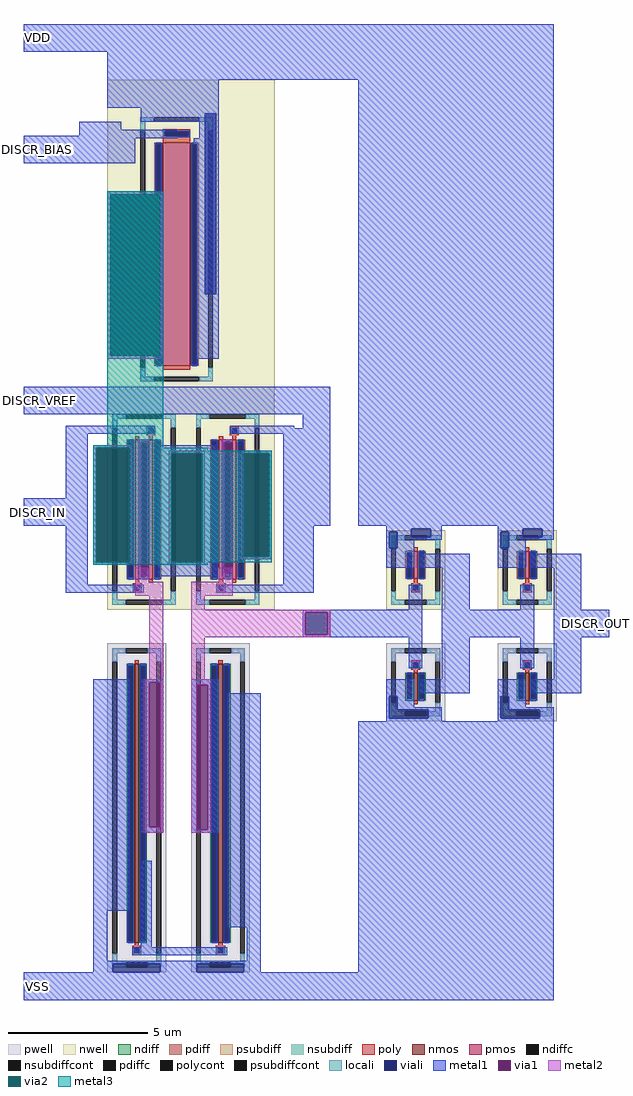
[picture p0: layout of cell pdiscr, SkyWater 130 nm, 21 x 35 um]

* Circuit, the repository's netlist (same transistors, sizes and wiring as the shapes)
** sch_path: /home/ttuser/tt_analog_z2a/xschem/pdiscr.sch
.subckt pdiscr VDD VSS DISCR_BIAS DISCR_IN DISCR_OUT DISCR_VREF
*.PININFO VDD:B VSS:B DISCR_IN:I DISCR_VREF:I DISCR_OUT:O DISCR_BIAS:B
x6 VDD VSS net2 net1 inv_x1
x7 VDD VSS DISCR_OUT net2 inv_x1
x5 VDD VSS net1 DISCR_IN DISCR_VREF DISCR_BIAS amp_p
.ends

* expanding   symbol:  inv_x1.sym # of pins=4
** sym_path: /home/ttuser/tt_analog_z2a/xschem/inv_x1.sym
** sch_path: /home/ttuser/tt_analog_z2a/xschem/inv_x1.sch
.subckt inv_x1 VDD VSS INV_OUT INV_IN
*.PININFO INV_IN:I INV_OUT:O VDD:B VSS:B
XM3 INV_OUT INV_IN VDD VDD sky130_fd_pr__pfet_01v8 L=0.15 W=1 nf=1 m=1
XM5 INV_OUT INV_IN VSS VSS sky130_fd_pr__nfet_01v8 L=0.15 W=1 nf=1 m=1
.ends


* expanding   symbol:  amp_p.sym # of pins=6
** sym_path: /home/ttuser/tt_analog_z2a/xschem/amp_p.sym
** sch_path: /home/ttuser/tt_analog_z2a/xschem/amp_p.sch
.subckt amp_p VDD VSS AMP_OUT AMP_P AMP_N PBIAS
*.PININFO AMP_P:I AMP_N:I AMP_OUT:O PBIAS:I VDD:B VSS:B
XM1 VTAIL PBIAS VDD VDD sky130_fd_pr__pfet_01v8 L=1 W=1 nf=1 m=8
XM2 AMP_OUT VFOLD VSS VSS sky130_fd_pr__nfet_01v8 L=0.15 W=10 nf=1 m=1
XM6 VFOLD VFOLD VSS VSS sky130_fd_pr__nfet_01v8 L=0.15 W=10 nf=1 m=1
XM4 AMP_OUT AMP_N VTAIL VDD sky130_fd_pr__pfet_01v8 L=0.15 W=10 nf=2 m=1
XM5 VFOLD AMP_P VTAIL VDD sky130_fd_pr__pfet_01v8 L=0.15 W=10 nf=2 m=1
.ends

.end

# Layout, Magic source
magic
tech sky130A
<< metal1 >>
rect 400 1900 700 2000
rect 1000 1800 2300 2000
rect 400 1500 600 1600
rect 400 600 1500 700
rect 1400 300 1500 600
rect 400 200 500 300
rect 1600 200 2300 1800
rect 1400 -200 1600 -100
rect 2400 -200 2500 -100
rect 1600 -1400 2300 -500
rect 400 -1500 500 -1400
rect 1200 -1500 2300 -1400
use amp_p  x5
transform 1 0 200 0 1 200
box 300 -1700 1300 1800
use inv_x1  x6 ~/tt_analog_z2a_2/mag
transform 1 0 1500 0 1 100
box 100 -700 500 200
use inv_x1  x7
transform 1 0 1900 0 1 100
box 100 -700 500 200
<< labels >>
flabel metal1 400 -1500 500 -1400 0 FreeSans 128 0 0 0 VSS
port 1 nsew
flabel metal1 400 1900 500 2000 0 FreeSans 128 0 0 0 VDD
port 0 nsew
flabel metal1 2400 -200 2500 -100 0 FreeSans 128 0 0 0 DISCR_OUT
port 4 nsew
flabel metal1 400 1500 500 1600 0 FreeSans 128 0 0 0 DISCR_BIAS
port 2 nsew
flabel metal1 400 600 500 700 0 FreeSans 128 0 0 0 DISCR_VREF
port 5 nsew
flabel metal1 400 200 500 300 0 FreeSans 128 0 0 0 DISCR_IN
port 3 nsew
<< end >>

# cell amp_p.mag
magic
tech sky130A
magscale 1 2
<< nwell >>
rect 1000 -600 2200 3200
<< viali >>
rect 1040 -3200 1380 -3140
rect 1640 -3200 1980 -3140
<< metal1 >>
rect 1000 3000 1800 3600
rect 1240 2900 1800 3000
rect 800 2800 1100 2900
rect 800 2600 1200 2800
rect 1000 1200 1400 2400
rect 1700 1200 1800 2900
rect 700 660 1340 720
rect 1880 700 2340 720
rect 1880 660 2480 700
rect 700 200 860 660
rect 1220 600 1300 620
rect 600 0 860 200
rect 700 -420 860 0
rect 900 560 1180 580
rect 900 -260 920 560
rect 1160 -260 1180 560
rect 900 -280 1180 -260
rect 1220 -360 1240 600
rect 1820 600 1900 620
rect 1360 520 1780 580
rect 1360 -260 1460 520
rect 1680 -260 1780 520
rect 1360 -360 1780 -260
rect 1820 -340 1840 600
rect 1960 520 2180 540
rect 1960 -220 1980 520
rect 2160 -220 2180 520
rect 1960 -240 2180 -220
rect 2260 200 2480 660
rect 2260 0 2600 200
rect 1820 -360 1900 -340
rect 1220 -380 1300 -360
rect 2260 -420 2480 0
rect 700 -480 1260 -420
rect 1780 -480 2480 -420
rect 2400 -620 2600 -600
rect 2400 -780 2420 -620
rect 2580 -780 2600 -620
rect 2400 -800 2600 -780
rect 900 -2760 1160 -1100
rect 900 -3120 1000 -2760
rect 1240 -3020 1320 -2400
rect 1860 -2880 2100 -1200
rect 1180 -3080 1860 -3020
rect 2000 -3120 2100 -2880
rect 900 -3140 2100 -3120
rect 900 -3200 1040 -3140
rect 1380 -3200 1640 -3140
rect 1980 -3200 2100 -3140
rect 600 -3400 2100 -3200
<< via1 >>
rect 920 -260 1160 560
rect 1240 -360 1300 600
rect 1460 -260 1680 520
rect 1840 -340 1900 600
rect 1980 -220 2160 520
rect 2420 -780 2580 -620
<< metal2 >>
rect 1000 1200 1400 2400
rect 1220 600 1300 620
rect 900 560 1180 580
rect 900 -260 920 560
rect 1160 -260 1180 560
rect 900 -280 1180 -260
rect 1220 -360 1240 600
rect 1820 600 1900 620
rect 1440 520 1700 540
rect 1440 -260 1460 520
rect 1680 -260 1700 520
rect 1440 -280 1700 -260
rect 1820 -340 1840 600
rect 1960 520 2180 540
rect 1960 -220 1980 520
rect 2160 -220 2180 520
rect 1960 -240 2180 -220
rect 1820 -360 1900 -340
rect 1220 -380 1300 -360
rect 1600 -620 2600 -600
rect 1600 -780 2420 -620
rect 2580 -780 2600 -620
rect 1600 -800 2600 -780
<< via2 >>
rect 920 -260 1160 560
rect 1460 -260 1680 520
rect 1980 -220 2160 520
<< metal3 >>
rect 1000 580 1400 2400
rect 900 560 1400 580
rect 900 -260 920 560
rect 1160 540 1720 560
rect 1160 520 2180 540
rect 1160 -260 1460 520
rect 1680 -220 1980 520
rect 2160 -220 2180 520
rect 1680 -260 2180 -220
rect 900 -280 1720 -260
use sky130_fd_pr__nfet_01v8_A5WNKR  sky130_fd_pr__nfet_01v8_A5WNKR_0
transform 1 0 1811 0 1 -2021
box -211 -1179 211 1179
use sky130_fd_pr__pfet_01v8_MGEV6J  sky130_fd_pr__pfet_01v8_MGEV6J_0
transform 1 0 1863 0 1 119
box -263 -719 263 719
use sky130_fd_pr__pfet_01v8_SB2EVP  XM1
transform 1 0 1496 0 1 1984
box -576 -4184 404 1256
use sky130_fd_pr__nfet_01v8_A5WNKR  XM2
transform 1 0 1211 0 1 -2021
box -211 -1179 211 1179
use sky130_fd_pr__pfet_01v8_MGEV6J  XM4
transform 1 0 1263 0 1 119
box -263 -719 263 719
<< labels >>
flabel metal1 600 -3400 800 -3200 0 FreeSans 256 0 0 0 VSS
port 1 nsew
flabel metal1 1000 3400 1200 3600 0 FreeSans 256 0 0 0 VDD
port 0 nsew
flabel metal1 800 2600 1000 2800 0 FreeSans 256 0 0 0 PBIAS
port 5 nsew
flabel metal1 600 0 800 200 0 FreeSans 256 0 0 0 AMP_P
port 3 nsew
flabel metal1 2400 0 2600 200 0 FreeSans 256 0 0 0 AMP_N
port 4 nsew
flabel metal1 2400 -800 2600 -600 0 FreeSans 256 0 0 0 AMP_OUT
port 2 nsew
<< end >>

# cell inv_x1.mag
magic
tech sky130A
magscale 1 2
<< viali >>
rect 420 40 480 160
rect 580 120 720 180
rect 420 -1120 480 -1020
rect 420 -1180 700 -1120
<< metal1 >>
rect 200 200 800 400
rect 400 180 800 200
rect 400 160 580 180
rect 400 40 420 160
rect 480 120 580 160
rect 720 120 800 180
rect 480 100 800 120
rect 480 40 600 100
rect 400 -100 600 40
rect 640 -100 1000 0
rect 560 -400 660 -220
rect 200 -600 660 -400
rect 560 -820 660 -600
rect 800 -900 1000 -100
rect 400 -1020 600 -900
rect 640 -1000 1000 -900
rect 400 -1180 420 -1020
rect 480 -1100 600 -1020
rect 480 -1120 800 -1100
rect 700 -1180 800 -1120
rect 400 -1200 800 -1180
rect 200 -1400 800 -1200
use sky130_fd_pr__pfet_01v8_LGS3BL  XM3
transform 1 0 611 0 1 -116
box -211 -284 211 284
use sky130_fd_pr__nfet_01v8_64Z3AY  XM5
transform 1 0 611 0 1 -921
box -211 -279 211 279
<< labels >>
flabel metal1 800 -600 1000 -400 0 FreeSans 256 0 0 0 INV_OUT
port 2 nsew
flabel metal1 200 -600 400 -400 0 FreeSans 256 0 0 0 INV_IN
port 3 nsew
flabel metal1 200 -1400 400 -1200 0 FreeSans 256 0 0 0 VSS
port 1 nsew
flabel metal1 200 200 400 400 0 FreeSans 256 0 0 0 VDD
port 0 nsew
<< end >>

# cell sky130_fd_pr__pfet_01v8_LGS3BL: kit device sky130_fd_pr__pfet_01v8, w 1.0 l 0.15 m 1 nf 1 diffcov 100 polycov 100 guard 1 glc 1 grc 1 gtc 1 gbc 1 tbcov 100 rlcov 100 topc 0 botc 1 poverlap 0 doverlap 1 lmin 0.15 wmin 0.42 compatible {sky130_fd_pr__pfet_01v8 sky130_fd_pr__pfet_01v8_lvt sky130_fd_pr__pfet_01v8_hvt sky130_fd_pr__pfet_g5v0d10v5} full_metal 1 viasrc 100 viadrn 100 viagate 100 viagb 0 viagr 0 viagl 0 viagt 0

# cell sky130_fd_pr__nfet_01v8_64Z3AY: kit device sky130_fd_pr__nfet_01v8, w 1.0 l 0.15 m 1 nf 1 diffcov 100 polycov 100 guard 1 glc 1 grc 1 gtc 1 gbc 1 tbcov 100 rlcov 100 topc 1 botc 0 poverlap 0 doverlap 1 lmin 0.15 wmin 0.42 compatible {sky130_fd_pr__nfet_01v8 sky130_fd_pr__nfet_01v8_lvt sky130_fd_bs_flash__special_sonosfet_star sky130_fd_pr__nfet_g5v0d10v5 sky130_fd_pr__nfet_05v0_nvt sky130_fd_pr__nfet_03v3_nvt} full_metal 1 viasrc 100 viadrn 100 viagate 100 viagb 0 viagr 0 viagl 0 viagt 0

# cell sky130_fd_pr__nfet_01v8_A5WNKR: kit device sky130_fd_pr__nfet_01v8, w 10.0 l 0.15 m 1 nf 1 diffcov 100 polycov 100 guard 1 glc 1 grc 1 gtc 1 gbc 1 tbcov 100 rlcov 100 topc 0 botc 1 poverlap 0 doverlap 1 lmin 0.15 wmin 0.42 compatible {sky130_fd_pr__nfet_01v8 sky130_fd_pr__nfet_01v8_lvt sky130_fd_bs_flash__special_sonosfet_star sky130_fd_pr__nfet_g5v0d10v5 sky130_fd_pr__nfet_05v0_nvt sky130_fd_pr__nfet_03v3_nvt} full_metal 1 viasrc 100 viadrn 100 viagate 100 viagb 0 viagr 0 viagl 0 viagt 0

# cell sky130_fd_pr__pfet_01v8_MGEV6J: kit device sky130_fd_pr__pfet_01v8, w 5.0 l 0.15 m 1 nf 2 diffcov 100 polycov 100 guard 1 glc 1 grc 1 gtc 1 gbc 1 tbcov 100 rlcov 100 topc 0 botc 1 poverlap 0 doverlap 1 lmin 0.15 wmin 0.42 compatible {sky130_fd_pr__pfet_01v8 sky130_fd_pr__pfet_01v8_lvt sky130_fd_pr__pfet_01v8_hvt sky130_fd_pr__pfet_g5v0d10v5} full_metal 1 viasrc 100 viadrn 100 viagate 100 viagb 0 viagr 0 viagl 0 viagt 0

# cell sky130_fd_pr__pfet_01v8_SB2EVP: kit device sky130_fd_pr__pfet_01v8, w 8.0 l 1.0 m 1 nf 1 diffcov 100 polycov 100 guard 1 glc 1 grc 1 gtc 1 gbc 1 tbcov 100 rlcov 100 topc 1 botc 0 poverlap 0 doverlap 1 lmin 0.15 wmin 0.42 compatible {sky130_fd_pr__pfet_01v8 sky130_fd_pr__pfet_01v8_lvt sky130_fd_pr__pfet_01v8_hvt sky130_fd_pr__pfet_g5v0d10v5} full_metal 1 viasrc 100 viadrn 100 viagate 100 viagb 0 viagr 0 viagl 0 viagt 0
